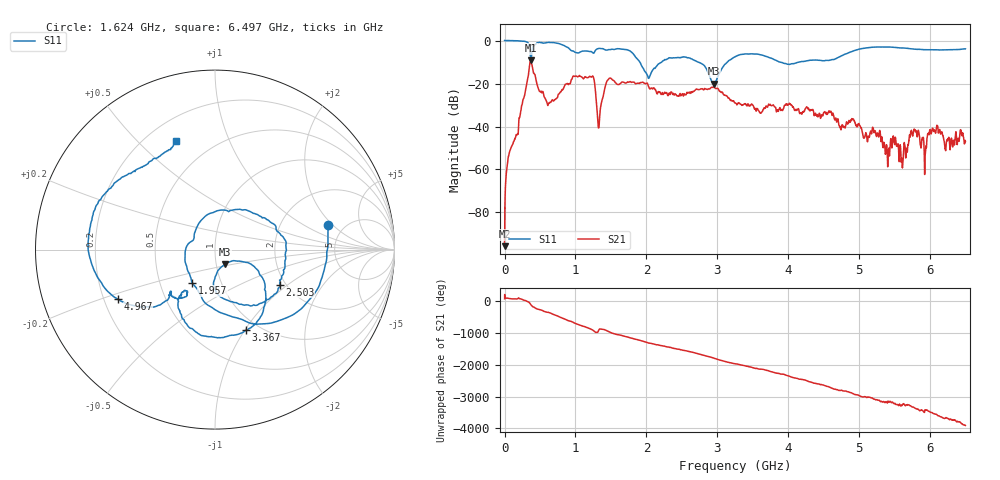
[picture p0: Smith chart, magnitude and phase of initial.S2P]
!Keysight Technologies,E5063A,MY54503115,A.05.08
!Date: Wed Nov 22 20:09:50 2023
!Data & Calibration Information:
!Freq	S11:NONE(--)	S21:NONE(--)	S12:NONE(--)	S22:NONE(--)
# Hz S dB R 50
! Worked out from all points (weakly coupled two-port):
!   10001 points, 100 kHz to 6.5 GHz, reference 50 ohm
!   highest |S21| = -9.28 dB at 366 MHz (marker M1); lowest = -95.7 dB at 750 kHz (marker M2)
!   lowest |S11| = -20.1 dB at 2.954 GHz (marker M3), VSWR 1.22, Z = 55.3 - j9.05 ohm
!   |S11| at or under -10 dB: 1.908 GHz to 2.211 GHz (303.3 MHz wide, 14.7 % of centre); 2.731 GHz to 3.141 GHz (410.3 MHz wide, 14 % of centre); 3.885 GHz to 4.157 GHz (272.2 MHz wide, 6.77 % of centre)
!   S12 and S22 are empty: the file has one direction only
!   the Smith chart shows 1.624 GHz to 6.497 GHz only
!   S11 on the Smith chart (normalised r, x): 1.624 GHz: 3.78, +1.76; 1.957 GHz: 0.73, -0.28; 2.503 GHz: 1.86, -0.87; 3.367 GHz: 0.87, -1.01; 4.967 GHz: 0.26, -0.22; 6.497 GHz: 0.32, +0.66
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100000  0.05 -0.5  -92.50 63.8  -200.00 0.0  -200.00 0.0
749990  0.01 -0.6  -95.68 179.0  -200.00 0.0  -200.00 0.0
2.340964e8  -0.26 -76.9  -31.68 56.9  -200.00 0.0  -200.00 0.0
3.660444e8  -7.92 -136.1  -9.28 -109.4  -200.00 0.0  -200.00 0.0
5.83141e8  -1.03 171.1  -27.75 10.1  -200.00 0.0  -200.00 0.0
7.326387e8  -1.14 96.8  -26.88 -105.0  -200.00 0.0  -200.00 0.0
8.743366e8  -2.97 3.3  -20.12 119.5  -200.00 0.0  -200.00 0.0
1.083633e9  -5.05 -154.9  -16.89 -60.9  -200.00 0.0  -200.00 0.0
1.242881e9  -5.68 123.1  -16.47 163.3  -200.00 0.0  -200.00 0.0
1.32933e9  -3.66 97.4  -40.59 162.9  -200.00 0.0  -200.00 0.0
1.624425e9  -3.80 12.1  -20.18 9.7  -200.00 0.0  -200.00 0.0
1.95722e9  -12.99 -124.4  -19.49 168.9  -200.00 0.0  -200.00 0.0
2.167167e9  -10.96 50.4  -23.73 57.4  -200.00 0.0  -200.00 0.0
2.503211e9  -7.73 -28.4  -25.00 -100.4  -200.00 0.0  -200.00 0.0
2.953655e9  -20.06 -54.6  -21.90 -0.6  -200.00 0.0  -200.00 0.0
3.25005e9  -7.57 -48.7  -29.12 -172.3  -200.00 0.0  -200.00 0.0
3.367048e9  -6.36 -69.0  -29.88 138.5  -200.00 0.0  -200.00 0.0
4.333583e9  -9.16 -130.1  -32.24 -36.3  -200.00 0.0  -200.00 0.0
4.967324e9  -4.32 -153.0  -40.12 -68.1  -200.00 0.0  -200.00 0.0
5.417117e9  -3.01 162.0  -50.58 80.6  -200.00 0.0  -200.00 0.0
6.4974e9  -3.82 109.6  -46.44 60.8  -200.00 0.0  -200.00 0.0
6.5e9  -3.84 109.3  -46.94 53.3  -200.00 0.0  -200.00 0.0
